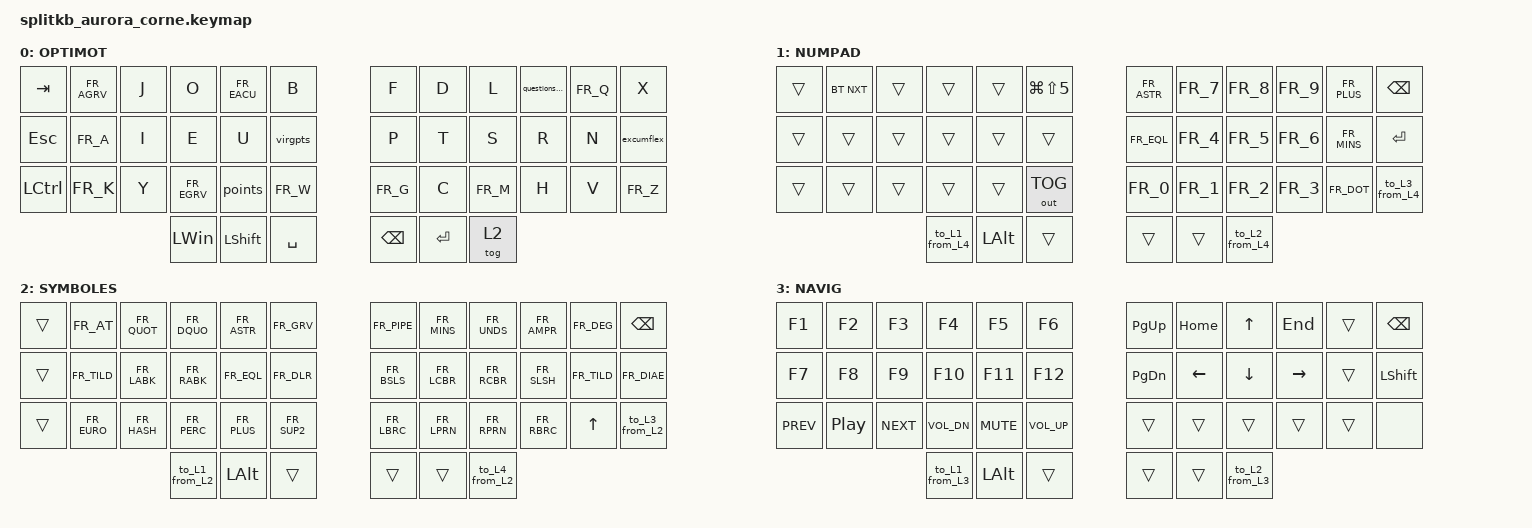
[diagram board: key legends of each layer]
/*
 * Copyright (c) 2020 The ZMK Contributors
 *
 * SPDX-License-Identifier: MIT
 */

#include <behaviors.dtsi>
#include <dt-bindings/zmk/bt.h>
#include <dt-bindings/zmk/keys.h>
#include <dt-bindings/zmk/outputs.h>
#include <dt-bindings/zmk/backlight.h>
#include <dt-bindings/zmk/rgb.h>
#include "keymap_french.h"

#define L1  0
#define L4  1
#define L2  2
#define L3  3

&nice_view_spi {
    cs-gpios = <&pro_micro 0 GPIO_ACTIVE_HIGH>;
};



/*****************************************************************************/
                            /* Home Row Mods */
/*****************************************************************************/

/* Left hand key positions fo[sr use with right hand mods */
#define LEFT_HAND_KEYS \
    /*    ┌────┬────┬────┬────┬────┐                                       */ \
            0    1    2    3    4     5                                       \
    /*    ├────┼────┼────┼────┼────┼────┐                                  */ \
            12   13   14   15   16   17                                      \
    /*    ├────┼────┼────┼────┼────┼────┤                                  */ \
            24   25   26   27   28   29                                       \
    /*    ├────┼────┼────┼────┼────┼────┤                                  */ \
  

/* Right hand key positions for use with left hand mods */
#define RIGHT_HAND_KEYS \
    /*                                          ┌────┬────┬────┬────┬────┐ */ \
                                             6     7    8    9   10   11      \
    /*                                     ┌────┼────┼────┼────┼────┼────┤ */ \
                                             18   19   20   21   22   23      \
    /*                                     ├────┼────┼────┼────┼────┼────┤ */ \
                                             30   31   32   33   34   35      \
    /*                                     ├────┼────┼────┼────┼────┼────┤ */ \
    

/* Thumb key positions for use with mods on both hands */
#define THUMB_KEYS \
    /*                 ┌────┬────┬────┐      ┌────┬────┬────┐              */ \
                         36   37   38          39   40   41                   \
    /*                 ├────┼────┼────┤      ├────┼────┼────┤              */ \


/ {

 behaviors {
        ht: hold_tap {
            compatible = "zmk,behavior-hold-tap";
            label = "HOLD_TAP";
            #binding-cells = <2>;
            tapping-term-ms = <200>;
            quick_tap_ms = <0>;
            flavor = "tap-preferred";
            bindings = <&kp>, <&kp>;
        };
        lh_hm: left_hand_homerow_mods {
            compatible = "zmk,behavior-hold-tap";
            label = "LEFT_HAND_HOMEROW_MODS";
            #binding-cells = <2>;
            tapping-term-ms = <300>;
            quick-tap-ms = <150>;
            flavor = "balanced";
            hold-trigger-key-positions = <RIGHT_HAND_KEYS THUMB_KEYS>;
            hold-trigger-on-release;
            bindings = <&kp>, <&kp>;
        };  
        rh_hm: right_hand_homerow_mods {    
            compatible = "zmk,behavior-hold-tap";
            label = "RIGHT_HAND_HOMEROW_MODS";
            #binding-cells = <2>;
            tapping-term-ms = <300>;
            quick-tap-ms = <150>;
            global-quick-tap;
            flavor = "balanced";
            hold-trigger-key-positions = <LEFT_HAND_KEYS THUMB_KEYS>;
            hold-trigger-on-release;
            bindings = <&kp>, <&kp>;
            
        };
        excumflex: excumflex {
            compatible = "zmk,behavior-mod-morph";
            label = "EXCUMFLEX";
            #binding-cells = <0>;
            bindings = <&kp FR_CIRC>, <&kp FR_EXLM>;
            mods = <(MOD_LSFT)>;
        };
        virgpts: virgpts {
            compatible = "zmk,behavior-mod-morph";
            label = "VIRGPTS";
            #binding-cells = <0>;
            bindings = <&kp FR_COMM>, <&kp FR_SCLN>;
            mods = <(MOD_LSFT)>;
        };
        points: points {
            compatible = "zmk,behavior-mod-morph";
            label = "POINTS";
            #binding-cells = <0>;
            bindings = <&kp FR_DOT>, <&kp FR_COLN>;
            mods = <(MOD_LSFT)>;
        };
        questionstrophe: questionstrophe {
            compatible = "zmk,behavior-mod-morph";
            label = "QUESTIONSTROPHE";
            #binding-cells = <0>;
            bindings = <&kp FR_QUOT>, <&kp FR_QUES>;
            mods = <(MOD_LSFT)>;
        };
    };

    macros {

        to_L1_from_L2: to_L1_from_L2 {
            label = "to_layer_L1_from_L2";
            compatible = "zmk,behavior-macro";
            #binding-cells = <0>;
            bindings
                = <&tog L1>
                , <&tog L2>
                ;
        };

        to_L1_from_L3: to_L1_from_L3 {
            label = "to_layer_L1_from_L3";
            compatible = "zmk,behavior-macro";
            #binding-cells = <0>;
            bindings
                = <&tog L1>
                , <&tog L3>
                ;
        };

        to_L1_from_L4: to_L1_from_L4 {
            label = "to_layer_L1_from_L4";
            compatible = "zmk,behavior-macro";
            #binding-cells = <0>;
            bindings
                = <&tog L1>
                , <&tog L4>
                ;
        };

        to_L2_from_L3: to_L2_from_L3 {
            label = "to_layer_L2_from_L3";
            compatible = "zmk,behavior-macro";
            #binding-cells = <0>;
            bindings
                = <&tog L3>
                , <&tog L2>
                ;
        };

        to_L3_from_L2: to_L3_from_L2 {
            label = "to_layer_L3_from_L2";
            compatible = "zmk,behavior-macro";
            #binding-cells = <0>;
            bindings
                = <&tog L2>
                , <&tog L3>
                ;
        };

        to_L4_from_L3: to_L4_from_L3 {
            label = "to_layer_L4_from_L3";
            compatible = "zmk,behavior-macro";
            #binding-cells = <0>;
            bindings
                = <&tog L4>
                , <&tog L3>
                ;
        };

         to_L3_from_L4: to_L3_from_L4 {
            label = "to_layer_L3_from_L4";
            compatible = "zmk,behavior-macro";
            #binding-cells = <0>;
            bindings
                = <&tog L3>
                , <&tog L4>
                ;
        };

        to_L4_from_L2: to_L4_from_L2 {
            label = "to_layer_L4_from_L2";
            compatible = "zmk,behavior-macro";
            #binding-cells = <0>;
            bindings
                = <&tog L4>
                , <&tog L2>
                ;
        };

         to_L2_from_L4: to_L2_from_L4 {
            label = "to_layer_L2_from_L4";
            compatible = "zmk,behavior-macro";
            #binding-cells = <0>;
            bindings
                = <&tog L2>
                , <&tog L4>
                ;
        };

    };
    combos { 
        compatible = "zmk,combos";

        combo_cut_mac { // KY
            timeout-ms = <50>;
            key-positions = <25 26>;
            bindings = <&kp LG(X)>;
        };

        combo_copy_mac { // YÈ
            timeout-ms = <50>;
            key-positions = <26 27>;
            bindings = <&kp LG(C)>;
        };

        combo_paste_mac { // È‧
            timeout-ms = <50>;
            key-positions = <27 28>;
            bindings = <&kp LG(V)>;
        };

        combo_dash { // DL
            timeout-ms = <50>;
            key-positions = <7 8>;
            bindings = <&kp FR_MINS>;
        };

        combo_mo_symb { // TS
            timeout-ms = <30>;
            key-positions = <19 20>;
            bindings = <&mo L2>;
        };


        combo_mo_nav { // SR
            timeout-ms = <30>;
            key-positions = <20 21>;
            bindings = <&mo L3>;
        };

        combo_mo_num { // TR
            timeout-ms = <30>;
            key-positions = <19 21>;
            bindings = <&mo L4>;
        };

        combo_mo_symb_l { // TS
            timeout-ms = <30>;
            key-positions = <15 16>;
            bindings = <&mo L2>;
        };


        combo_mo_nav_l { // SR
            timeout-ms = <30>;
            key-positions = <14 15>;
            bindings = <&mo L3>;
        };

        combo_mo_num_l { // TR
            timeout-ms = <30>;
            key-positions = <14 16>;
            bindings = <&mo L4>;
        };

        combo_clear_bt { //àjo
            timeout-ms = <30>;
            key-positions = <1 2 3>;
            bindings = <&bt BT_CLR>;
        };

        combo_zmk_sudio { //qx
            timeout-ms = <30>;
            key-positions = <10 11>;
            bindings = <&studio_unlock>;
        };

        combo_cedille { // cm
            timeout-ms = <30>;
            key-positions = <31 32>;
            bindings = <&kp FR_CCED>;
        };

        combo_ugrave { // u,
            timeout-ms = <30>;
            key-positions = <16 17>;
            bindings = <&kp FR_UGRV>;
        };

        combo_oe { // oe
            timeout-ms = <30>;
            key-positions = <3 15>;
            bindings = <&kp LA(O)>;
        };
    };

    keymap {
        compatible = "zmk,keymap";
        default_layer {
            label = "OPTIMOT";
        
            // -------------------------------------------------------------------------------
            // | TAB  |  à  |  J  |  O  |  é  |  B  |   |  F  |  D  |  L  |  ’? |  Q  |  X   |
            // | ESC  |  A  |  I  |  E  |  U  |  ,; |   |  P  |  T  |  S  |  R  |  N  |  ^!  |
            // | CTRL |  K  |  Y  |  è  |  .: |  W  |   |  G  |  C  |  M  |  H  |  V  |  Z   |
            //                  | WIN | SHIFT | SPC |   |BSPC |ENTER| L2 |
           
            
            bindings = <
                &kp TAB     &kp FR_AGRV    &kp J  &kp O        &kp FR_EACU    &kp B           &kp F       &kp D    &kp L       &questionstrophe  &kp FR_Q &kp X
                &kp ESC     &kp FR_A       &kp I  &kp E        &kp U          &virgpts        &kp P       &kp T     &kp S       &kp R             &kp N    &excumflex
                &kp LCTRL   &kp FR_K       &kp Y  &kp FR_EGRV  &points        &kp FR_W        &kp FR_G    &kp C    &kp FR_M    &kp H             &kp V    &kp FR_Z
                                   &kp LWIN &kp LSHIFT &kp SPACE   &kp BSPC &kp ENTER &tog L2  
            >;
        };
           

        numpad_layer {
            label = "NUMPAD";
            // -----------------------------------------------------------------------------------------
            //    |    X  | BT_NXT |  X  |  X  |  X  | PRINTMAC|      |  *  |  7   |  8  |  9  |  +   |  BSPC   |
            //    |    X  |    X   |  X  |  X  |  X  | X       |      |  =  |  4   |  5  |  6  |  -   |  ENTER  |
            //    |    X  |    X   |  X  |  X  |  X  | OUT_TOG |      |  0  |  1   |  2  |  3  |  .   |   L3    |
            //                           |  L1 | ALT |     X   |      |  X  |  X   |  L2 |
            bindings = < 
               &trans    &bt BT_NXT   &trans        &trans       &trans       &kp LG(LS(N5))     &kp FR_ASTR  &kp FR_7 &kp FR_8 &kp FR_9 &kp FR_PLUS   &kp BSPC
               &trans    &trans       &trans        &trans       &trans       &trans             &kp FR_EQL   &kp FR_4 &kp FR_5 &kp FR_6 &kp FR_MINS   &kp ENTER
               &trans    &trans       &trans        &trans       &trans       &out OUT_TOG       &kp FR_0     &kp FR_1 &kp FR_2 &kp FR_3 &kp FR_DOT    &to_L3_from_L4
                                                                          &to_L1_from_L4 &kp LALT &trans    &trans &trans &to_L2_from_L4
                        >;
                };

        symb_layer {
            label = "SYMBOLES";
            // --------------------------------------------------------------------------------------
            //    |  X  |  @  |  '  |  "  |  *  |   `   |   |  |  |  -   |  _  |  &  |  °  |  BSPC  |
            //    |  X  |  ~  |  <  |  >  |  =  |   $   |   |  \  |  {   |  }  |  /  |  ~  |    ¨   |
            //    |  X  |  €  |  #  |  %  |  +  |   ²   |   |  [  |  (   |  )  |  ]  |  ↑  |   L3   |
            //                       | L1 | ALT |   X   |   |  X  |  X   | L4 |
            bindings = < 
               &trans    &kp FR_AT    &kp FR_QUOT  &kp FR_DQUO    &kp FR_ASTR  &kp FR_GRV       &kp FR_PIPE  &kp FR_MINS &kp FR_UNDS &kp FR_AMPR &kp FR_DEG  &kp BSPC
               &trans    &kp FR_TILD  &kp FR_LABK  &kp FR_RABK    &kp FR_EQL   &kp FR_DLR       &kp FR_BSLS  &kp FR_LCBR &kp FR_RCBR &kp FR_SLSH &kp FR_TILD &kp FR_DIAE
               &trans    &kp FR_EURO  &kp FR_HASH  &kp FR_PERC    &kp FR_PLUS  &kp FR_SUP2      &kp FR_LBRC  &kp FR_LPRN &kp FR_RPRN &kp FR_RBRC &kp UP     &to_L3_from_L2
                                                     &to_L1_from_L2 &kp LALT &trans    &trans &trans &to_L4_from_L2
                >;
             };

        nav_layer {
            label = "NAVIG";
            // -----------------------------------------------------------------------------------------------------
            //                 |  F1  |  F2 |  F3 |  F4 |  F5 |  F6 |   |  PUP  |  HOME |  ↑  | END |  X  |  BSPC  |
            //                 |  F7  |  F8 |  F9 | F10 | F11 | F12 |   |  PDN  |   ←   |  ↓  |  →  |  X  |  SHIFT |
            //                 | PREV | PLAY| NEXT| VDWN| MUTE| VUP |   |   X   |    X  |  X  |  X  |  x  |    X   |
            //                                    | L1  | ALT |  X  |   |   X   |    X  |  L2 |
            bindings = <
               &kp F1     &kp F2     &kp F3     &kp F4         &kp F5        &kp F6       &kp PG_UP   &kp HOME   &kp UP    &kp END   &trans &kp BSPC
               &kp F7     &kp F8     &kp F9     &kp F10        &kp F11       &kp F12      &kp PG_DN   &kp LEFT   &kp DOWN  &kp RIGHT &trans &kp LSHIFT
               &kp C_PREV &kp C_PP   &kp C_NEXT &kp C_VOL_DN   &kp C_MUTE    &kp C_VOL_UP &trans      &trans     &trans    &trans    &trans &none
                                              &to_L1_from_L3 &kp LALT &trans     &trans &trans &to_L2_from_L3
                     >;
                };
    };
};
